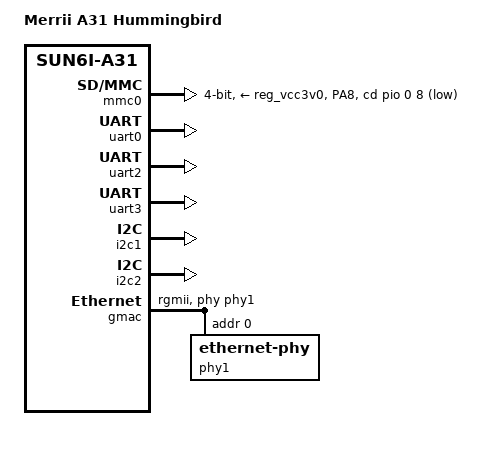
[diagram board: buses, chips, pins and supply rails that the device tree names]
/*
 * Copyright 2014 Maxime Ripard
 *
 * Maxime Ripard <maxime.ripard@free-electrons.com>
 *
 * The code contained herein is licensed under the GNU General Public
 * License. You may obtain a copy of the GNU General Public License
 * Version 2 or later at the following locations:
 *
 * http://www.opensource.org/licenses/gpl-license.html
 * http://www.gnu.org/copyleft/gpl.html
 */

/dts-v1/;
/include/ "sun6i-a31.dtsi"
/include/ "sunxi-common-regulators.dtsi"

/ {
	model = "Merrii A31 Hummingbird";
	compatible = "merrii,a31-hummingbird", "allwinner,sun6i-a31";

	chosen {
		bootargs = "earlyprintk console=ttyS0,115200 ip=dhcp";
	};

	soc@01c00000 {
		mmc0: mmc@01c0f000 {
			pinctrl-names = "default";
			pinctrl-0 = <&mmc0_pins_a>, <&mmc0_cd_pin_hummingbird>;
			vmmc-supply = <&reg_vcc3v0>;
			bus-width = <4>;
			cd-gpios = <&pio 0 8 0>; /* PA8 */
			cd-inverted;
			status = "okay";
		};

		pio: pinctrl@01c20800 {
			mmc0_pins_a: mmc0@0 {
				allwinner,pull = <1>;
			};

			mmc0_cd_pin_hummingbird: mmc0_cd_pin@0 {
				allwinner,pins = "PA8";
				allwinner,function = "gpio_in";
				allwinner,drive = <0>;
				allwinner,pull = <1>;
			};
		};

		uart0: serial@01c28000 {
			pinctrl-names = "default";
			pinctrl-0 = <&uart0_pins_a>;
			status = "okay";
		};

		uart2: serial@01c28800 {
			pinctrl-names = "default";
			pinctrl-0 = <&uart2_4_pins_a>;
			status = "okay";
		};

		uart3: serial@01c28c00 {
			pinctrl-names = "default";
			pinctrl-0 = <&uart3_4_pins_a>;
			status = "okay";
		};

		i2c0: i2c@01c2ac00 {
			pinctrl-names = "default";
			pinctrl-0 = <&i2c0_pins_a>;
			status = "fail";
		};

		i2c1: i2c@01c2b000 {
			pinctrl-names = "default";
			pinctrl-0 = <&i2c1_pins_a>;
			status = "okay";
		};

		i2c2: i2c@01c2b400 {
			pinctrl-names = "default";
			pinctrl-0 = <&i2c2_pins_a>;
			status = "okay";
		};


		gmac: ethernet@01c30000 {
			pinctrl-names = "default";
			pinctrl-0 = <&gmac_pins_rgmii_a>;
			phy = <&phy1>;
			phy-mode = "rgmii";
			status = "okay";

			phy1: ethernet-phy@0 {
				reg = <0>;
			};
		};

	};
};
